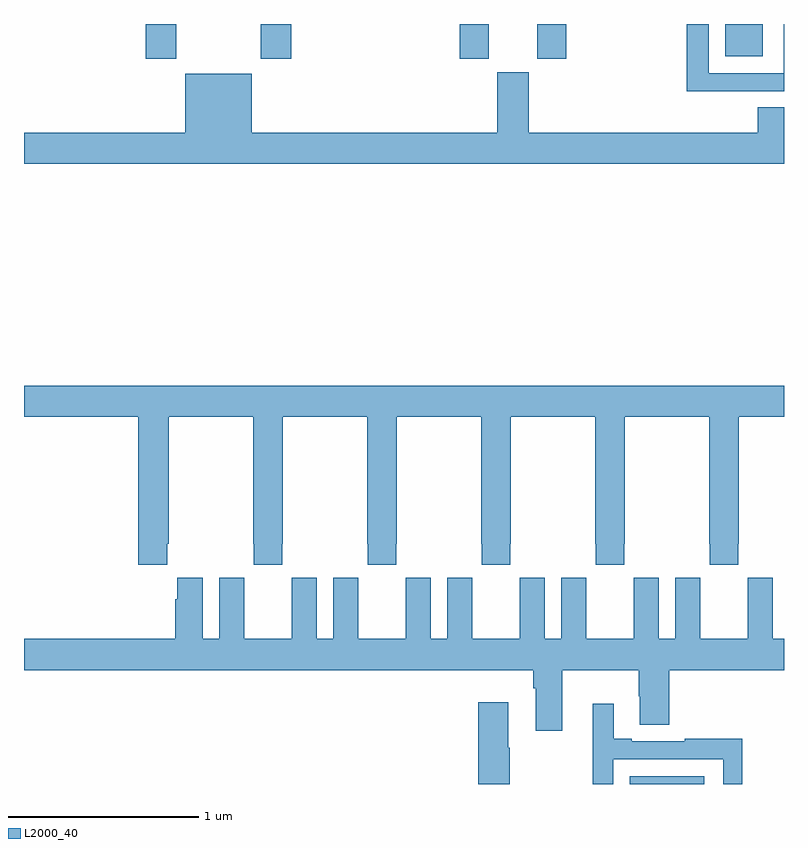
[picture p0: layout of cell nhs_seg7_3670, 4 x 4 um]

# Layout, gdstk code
import gdstk
lib = gdstk.Library(unit=1e-6, precision=1e-09)
def R(c, l, rs):  # rectangles x0, y0, x1, y1
    for r in rs: c.add(gdstk.rectangle(r[:2], r[2:], *l))
def P(c, l, *ps):  # polygons
    for p in ps: c.add(gdstk.Polygon(p, *l))
L2000_40 = (2000, 40)

nhs_seg7_3670 = lib.new_cell('nhs_seg7_3670')
R(nhs_seg7_3670, L2000_40, [(348.187,1016,348.58,1016.041), (345.641,1019.817,345.801,1020), (346.246,1019.817,346.406,1020), (347.294,1019.817,347.446,1020), (347.702,1019.817,347.855,1020), (348.692,1019.831,348.889,1020)])
P(nhs_seg7_3670, L2000_40, [(348.779,1019.646),(349,1019.646),(349,1020),(348.999,1020),(348.999,1019.742),(348.603,1019.742),(348.603,1020),(348.487,1020),(348.487,1019.645),(348.779,1019.645)],
  [(349,1019.561),(348.863,1019.561),(348.863,1019.428),(347.656,1019.428),(347.656,1019.745),(347.492,1019.745),(347.492,1019.428),(346.198,1019.428),(346.198,1019.737),(345.848,1019.737),(345.848,1019.428),(345,1019.428),(345,1019.264),(349,1019.264)],
  [(345.755,1017.265),(345.762,1017.265),(345.762,1017.932),(346.207,1017.932),(346.207,1017.265),(346.209,1017.265),(346.209,1017.153),(346.359,1017.153),(346.359,1017.265),(346.362,1017.265),(346.362,1017.932),(346.807,1017.932),(346.807,1017.265),(346.809,1017.265),(346.809,1017.153),(346.959,1017.153),(346.959,1017.265),(346.962,1017.265),(346.962,1017.932),(347.407,1017.932),(347.407,1017.265),(347.409,1017.265),(347.409,1017.153),(347.559,1017.153),(347.559,1017.265),(347.562,1017.265),(347.562,1017.932),(348.007,1017.932),(348.007,1017.265),(348.009,1017.265),(348.009,1017.153),(348.159,1017.153),(348.159,1017.265),(348.162,1017.265),(348.162,1017.932),(348.607,1017.932),(348.607,1017.265),(348.609,1017.265),(348.609,1017.153),(348.759,1017.153),(348.759,1017.265),(348.762,1017.265),(348.762,1017.932),(349,1017.932),(349,1018.096),(345,1018.096),(345,1017.932),(345.602,1017.932),(345.602,1017.153),(345.755,1017.153)],
  [(348.235,1016.462),(348.242,1016.462),(348.242,1016.311),(348.395,1016.311),(348.395,1016.6),(349,1016.6),(349,1016.764),(348.94,1016.764),(348.94,1017.085),(348.81,1017.085),(348.81,1016.972),(348.809,1016.972),(348.809,1016.764),(348.559,1016.764),(348.559,1016.972),(348.558,1016.972),(348.558,1017.085),(348.428,1017.085),(348.428,1016.764),(348.34,1016.764),(348.34,1017.085),(348.21,1017.085),(348.21,1016.972),(348.209,1016.972),(348.209,1016.764),(347.959,1016.764),(347.959,1016.972),(347.958,1016.972),(347.958,1017.085),(347.828,1017.085),(347.828,1016.764),(347.74,1016.764),(347.74,1017.085),(347.61,1017.085),(347.61,1016.972),(347.609,1016.972),(347.609,1016.764),(347.359,1016.764),(347.359,1016.972),(347.358,1016.972),(347.358,1017.085),(347.228,1017.085),(347.228,1016.764),(347.14,1016.764),(347.14,1017.085),(347.01,1017.085),(347.01,1016.972),(347.009,1016.972),(347.009,1016.764),(346.759,1016.764),(346.759,1016.972),(346.758,1016.972),(346.758,1017.085),(346.628,1017.085),(346.628,1016.764),(346.54,1016.764),(346.54,1017.085),(346.41,1017.085),(346.41,1016.972),(346.409,1016.972),(346.409,1016.764),(346.159,1016.764),(346.159,1016.972),(346.158,1016.972),(346.158,1017.085),(346.028,1017.085),(346.028,1016.764),(345.94,1016.764),(345.94,1017.085),(345.806,1017.085),(345.806,1016.972),(345.797,1016.972),(345.797,1016.764),(345,1016.764),(345,1016.6),(347.681,1016.6),(347.681,1016.504),(347.693,1016.504),(347.693,1016.28),(347.833,1016.28),(347.833,1016.6),(348.235,1016.6)],
  [(347.556,1016.192),(347.548,1016.192),(347.548,1016.431),(347.39,1016.431),(347.39,1016),(347.556,1016)],
  [(348.102,1016.13),(348.681,1016.13),(348.681,1016),(348.78,1016),(348.78,1016.239),(348.478,1016.239),(348.478,1016.226),(348.199,1016.226),(348.199,1016.239),(348.103,1016.239),(348.103,1016.422),(347.993,1016.422),(347.993,1016.177),(347.994,1016.177),(347.994,1016),(348.102,1016)])

lib.write_gds('nhs_seg7_3670.gds')
